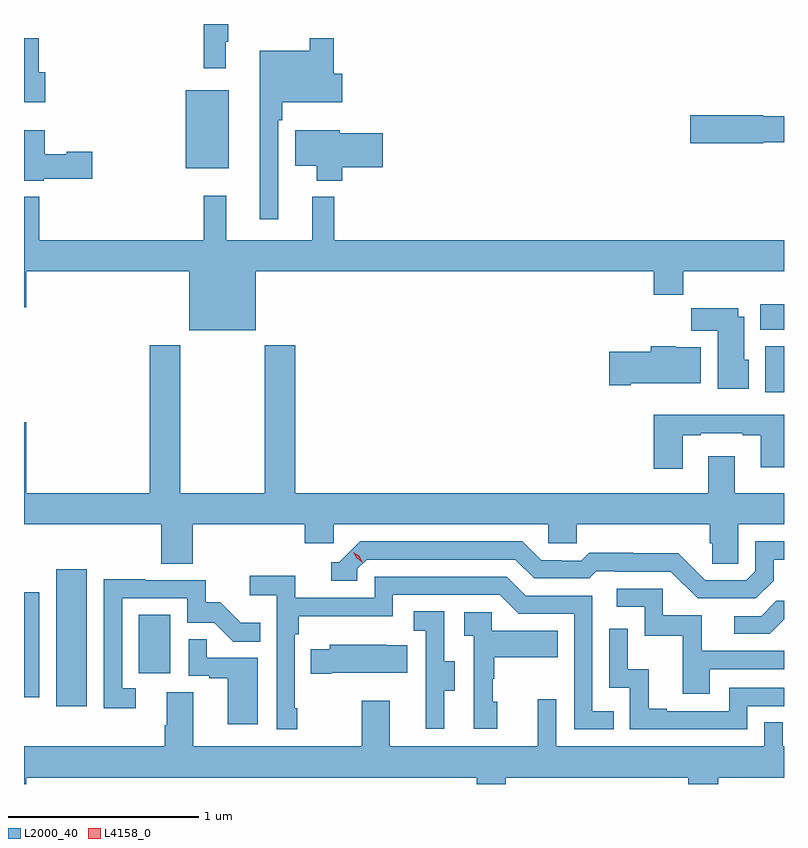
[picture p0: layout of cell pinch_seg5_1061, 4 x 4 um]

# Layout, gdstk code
import gdstk
lib = gdstk.Library(unit=1e-6, precision=1e-09)
def R(c, l, rs):  # rectangles x0, y0, x1, y1
    for r in rs: c.add(gdstk.rectangle(r[:2], r[2:], *l))
def P(c, l, *ps):  # polygons
    for p in ps: c.add(gdstk.Polygon(p, *l))
L2000_40 = (2000, 40)
L4158_0 = (4158, 0)

pinch_seg5_1061 = lib.new_cell('pinch_seg5_1061')
R(pinch_seg5_1061, L2000_40, [(860.633,854.472,860.794,855.193), (860.463,854.518,860.544,855.07), (861.068,854.646,861.232,854.953), (864.365,856.124,864.463,856.366), (864.338,856.454,864.463,856.588), (861.314,857.303,861.541,857.713)])
P(pinch_seg5_1061, L2000_40, [(861.526,857.969),(861.538,857.969),(861.538,858.062),(861.409,858.062),(861.409,857.829),(861.526,857.829)],
  [(861.801,857.555),(861.821,857.555),(861.821,857.651),(862.138,857.651),(862.138,857.799),(862.094,857.799),(862.094,857.986),(861.966,857.986),(861.966,857.92),(861.704,857.92),(861.704,857.034),(861.801,857.034)],
  [(860.575,857.809),(860.54,857.809),(860.54,857.986),(860.463,857.986),(860.463,857.651),(860.575,857.651)],
  [(864.354,857.44),(864.463,857.44),(864.463,857.576),(864.354,857.576),(864.354,857.582),(863.97,857.582),(863.97,857.435),(864.354,857.435)],
  [(862.139,857.308),(862.351,857.308),(862.351,857.486),(862.126,857.486),(862.126,857.503),(861.89,857.503),(861.89,857.315),(862.004,857.315),(862.004,857.237),(862.139,857.237)],
  [(860.568,857.248),(860.821,857.248),(860.821,857.39),(860.688,857.39),(860.688,857.377),(860.572,857.377),(860.572,857.503),(860.463,857.503),(860.463,857.237),(860.568,857.237)],
  [(861.98,857.152),(861.98,856.924),(861.527,856.924),(861.527,857.158),(861.409,857.158),(861.409,856.924),(860.543,856.924),(860.543,857.152),(860.463,857.152),(860.463,856.572),(860.476,856.572),(860.476,856.76),(861.332,856.76),(861.332,856.451),(861.682,856.451),(861.682,856.76),(863.777,856.76),(863.777,856.636),(863.933,856.636),(863.933,856.76),(864.463,856.76),(864.463,856.924),(862.097,856.924),(862.097,857.152)],
  [(864.277,856.296),(864.253,856.296),(864.253,856.522),(864.223,856.522),(864.223,856.567),(863.974,856.567),(863.974,856.448),(864.113,856.448),(864.113,856.142),(864.277,856.142)],
  [(861.35,855.428),(861.941,855.428),(861.941,855.33),(862.092,855.33),(862.092,855.428),(863.223,855.428),(863.223,855.33),(863.373,855.33),(863.373,855.428),(864.071,855.428),(864.071,855.33),(864.085,855.33),(864.085,855.22),(864.222,855.22),(864.222,855.428),(864.463,855.428),(864.463,855.592),(864.205,855.592),(864.205,855.787),(864.065,855.787),(864.065,855.592),(861.89,855.592),(861.89,856.372),(861.73,856.372),(861.73,855.592),(861.285,855.592),(861.285,856.372),(861.125,856.372),(861.125,855.592),(860.476,855.592),(860.476,855.967),(860.463,855.967),(860.463,855.428),(861.185,855.428),(861.185,855.22),(861.35,855.22)],
  [(863.656,856.172),(864.025,856.172),(864.025,856.36),(863.892,856.36),(863.892,856.366),(863.762,856.366),(863.762,856.338),(863.544,856.338),(863.544,856.16),(863.656,856.16)],
  [(863.929,855.897),(864.025,855.897),(864.025,855.909),(864.245,855.909),(864.245,855.897),(864.341,855.897),(864.341,855.728),(864.463,855.728),(864.463,856.006),(863.777,856.006),(863.777,855.72),(863.929,855.72)],
  [(864.409,855.133),(864.409,855.243),(864.463,855.243),(864.463,855.339),(864.312,855.339),(864.312,855.183),(864.264,855.135),(864.048,855.135),(863.906,855.277),(863.67,855.277),(863.67,855.28),(863.437,855.28),(863.395,855.237),(863.292,855.237),(863.292,855.24),(863.185,855.24),(863.086,855.339),(862.233,855.339),(862.122,855.228),(862.079,855.228),(862.079,855.132),(862.218,855.132),(862.218,855.195),(862.266,855.243),(863.049,855.243),(863.148,855.144),(863.437,855.144),(863.476,855.183),(863.575,855.183),(863.575,855.18),(863.868,855.18),(864.009,855.039),(864.315,855.039)],
  [(861.901,854.461),(861.888,854.461),(861.888,854.849),(861.908,854.849),(861.908,854.945),(862.404,854.945),(862.404,855.057),(862.968,855.057),(863.067,854.958),(863.358,854.958),(863.358,854.349),(863.567,854.349),(863.567,854.445),(863.454,854.445),(863.454,855.054),(863.104,855.054),(863.005,855.153),(862.308,855.153),(862.308,855.042),(861.89,855.042),(861.89,855.158),(861.651,855.158),(861.651,855.056),(861.792,855.056),(861.792,854.349),(861.901,854.349)],
  [(861.052,854.565),(860.979,854.565),(860.979,855.039),(861.321,855.039),(861.321,854.91),(861.465,854.91),(861.563,854.812),(861.707,854.812),(861.707,854.911),(861.603,854.911),(861.496,855.018),(861.42,855.018),(861.42,855.135),(861.101,855.135),(861.101,855.14),(860.883,855.14),(860.883,854.46),(861.052,854.46)],
  [(864.073,854.667),(864.463,854.667),(864.463,854.763),(864.031,854.763),(864.031,854.949),(863.826,854.949),(863.826,855.09),(863.583,855.09),(863.583,854.994),(863.73,854.994),(863.73,854.841),(863.929,854.841),(863.929,854.538),(864.073,854.538)],
  [(864.463,854.928),(864.463,855.026),(864.422,855.026),(864.342,854.946),(864.201,854.946),(864.201,854.853),(864.388,854.853)],
  [(862.675,854.554),(862.729,854.554),(862.729,854.709),(862.674,854.709),(862.674,854.972),(862.515,854.972),(862.515,854.869),(862.578,854.869),(862.578,854.565),(862.577,854.565),(862.577,854.352),(862.675,854.352)],
  [(862.954,854.496),(862.929,854.496),(862.929,854.615),(862.939,854.615),(862.939,854.729),(863.273,854.729),(863.273,854.869),(862.926,854.869),(862.926,854.967),(862.779,854.967),(862.779,854.843),(862.83,854.843),(862.83,854.352),(862.954,854.352)],
  [(864.27,854.472),(864.463,854.472),(864.463,854.568),(864.174,854.568),(864.174,854.445),(863.845,854.445),(863.845,854.458),(863.75,854.458),(863.75,854.666),(863.64,854.666),(863.64,854.878),(863.544,854.878),(863.544,854.568),(863.652,854.568),(863.652,854.349),(864.27,854.349)],
  [(861.694,854.727),(861.425,854.727),(861.425,854.825),(861.33,854.825),(861.33,854.631),(861.437,854.631),(861.437,854.619),(861.536,854.619),(861.536,854.376),(861.694,854.376)],
  [(862.084,854.648),(862.481,854.648),(862.481,854.791),(862.373,854.791),(862.373,854.794),(862.071,854.794),(862.071,854.77),(861.973,854.77),(861.973,854.641),(862.084,854.641)],
  [(860.476,854.096),(862.847,854.096),(862.847,854.062),(862.999,854.062),(862.999,854.096),(863.959,854.096),(863.959,854.062),(864.116,854.062),(864.116,854.096),(864.463,854.096),(864.463,854.26),(864.456,854.26),(864.456,854.387),(864.36,854.387),(864.36,854.26),(863.265,854.26),(863.265,854.509),(863.168,854.509),(863.168,854.26),(862.387,854.26),(862.387,854.5),(862.24,854.5),(862.24,854.26),(861.355,854.26),(861.355,854.546),(861.215,854.546),(861.215,854.372),(861.203,854.372),(861.203,854.26),(860.463,854.26),(860.463,854.062),(860.476,854.062)])
P(pinch_seg5_1061, L4158_0, [(862.243,855.23),(862.213,855.25),(862.197,855.283),(862.197,855.283),(862.197,855.283),(862.228,855.263),(862.244,855.231),(862.244,855.23)])

lib.write_gds('pinch_seg5_1061.gds')
